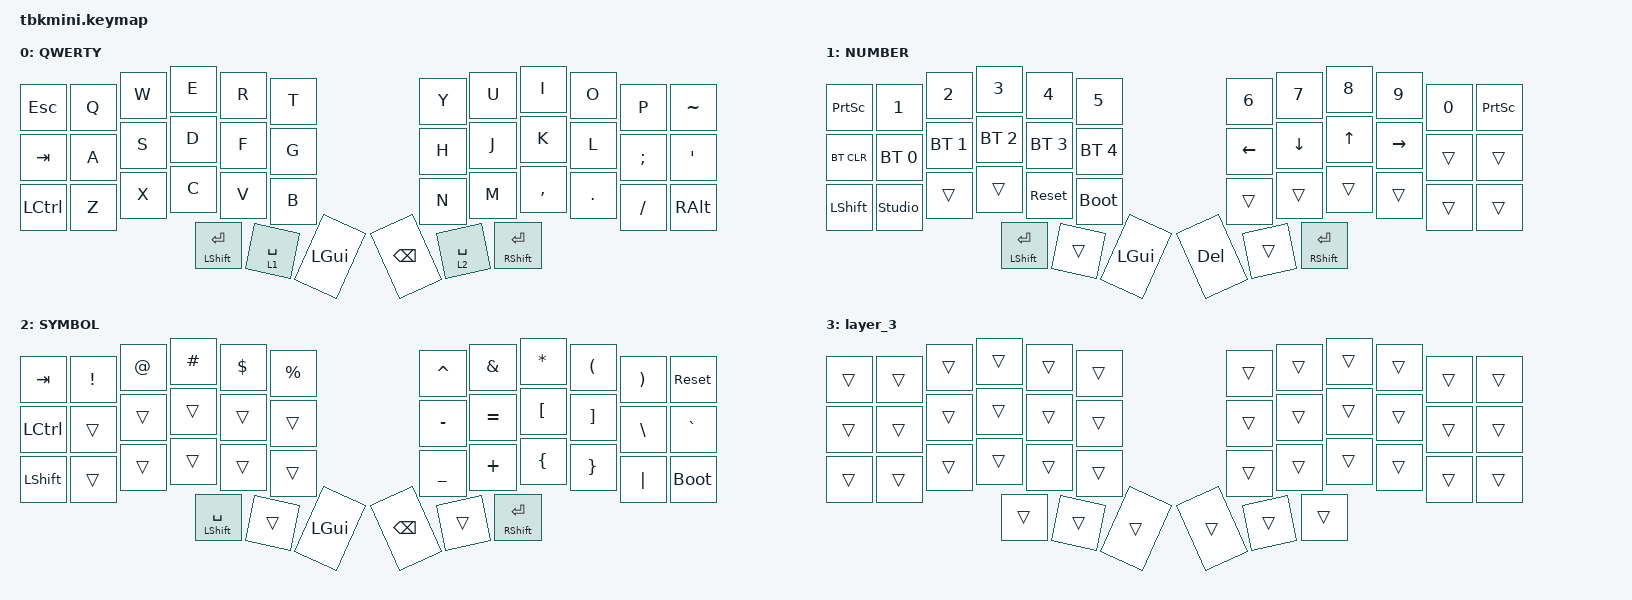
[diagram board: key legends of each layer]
#include <behaviors.dtsi>
#include <dt-bindings/zmk/bt.h>
#include <dt-bindings/zmk/keys.h>

/ {
    behaviors {
        shiftap: shift_tap {
            compatible = "zmk,behavior-hold-tap";
            #binding-cells = <2>;
            flavor = "hold-preferred";
            tapping-term-ms = <280>;
            hold-while-undecided;
            bindings = <&kp>, <&kp>;
        };
    };

    keymap {
        compatible = "zmk,keymap";

        default_layer {
            display-name = "QWERTY";

            // --------------------------------------------------------------------------------
            // |  ESCAPE |  Q  |  W  |  E  |  R  |  T  |   |  Y  |  U   |  I  |  O  |  P  | TILDE |
            // | TAB |  A  |  S  |  D  |  F  |  G  |   |  H  |  J   |  K  |  L  |  ;  |  '   |
            // | LCTRL |  Z  |  X  |  C  |  V  |  B  |   |  N  |  M   |  ,  |  .  |  /  | RIGHT_ALT  |
            //                    | LGUI | LWR | SPC |   | ENT | RSE  | DELETE |

            bindings = <
&kp ESCAPE  &kp Q  &kp W  &kp E     &kp R  &kp T        &kp Y                  &kp U  &kp I       &kp O    &kp P     &kp TILDE
&kp TAB     &kp A  &kp S  &kp D     &kp F  &kp G        &kp H                  &kp J  &kp K       &kp L    &kp SEMI  &kp SQT
&kp LCTRL   &kp Z  &kp X  &kp C     &kp V  &kp B        &kp N                  &kp M  &kp COMMA   &kp DOT  &kp FSLH  &kp RIGHT_ALT
                          &shiftap LEFT_SHIFT ENTER  &lt 1 SPACE &kp LGUI         &kp BACKSPACE &lt 2 SPACE  &shiftap RIGHT_SHIFT ENTER
//                          &kp LGUI  &lt 1 ENTER  &shiftap LEFT_SHIFT SPACE    &mt RIGHT_SHIFT SPACE  &lt 2 ENTER  &kp BACKSPACE
            >;
        };

        lower_layer {
            display-name = "NUMBER";

            // -----------------------------------------------------------------------------------------
            // |  TAB |  1  |  2  |  3  |  4  |  5  |   |  6  |  7  |  8  |  9  |  0  | PRINTSCREEN |
            // | BTCLR| BT1 | BT2 | BT3 | BT4 | BT5 |   | LFT | DWN |  UP | RGT |     |      |
            // | SHFT |     |     |     |RESET|  BTLDR |   |     |     |     |     |     |      |
            //                    | GUI |     | SPC |   | ENT |     | ALT |

            bindings = <
&kp PRINTSCREEN  &kp N1        &kp N2        &kp N3        &kp N4        &kp N5              &kp N6  &kp N7    &kp N8  &kp N9     &kp N0  &kp PRINTSCREEN
&bt BT_CLR       &bt BT_SEL 0  &bt BT_SEL 1  &bt BT_SEL 2  &bt BT_SEL 3  &bt BT_SEL 4        &kp LEFT  &kp DOWN  &kp UP  &kp RIGHT  &trans  &trans
&kp LSHFT        &studio_unlock       &trans        &trans        &sys_reset    &bootloader         &trans   &trans    &trans  &trans     &trans  &trans
                           &shiftap LEFT_SHIFT ENTER    &trans    &kp LGUI                        &kp DELETE  &trans    &shiftap RIGHT_SHIFT ENTER
            >;
        };

        raise_layer {
            display-name = "SYMBOL";

            // -----------------------------------------------------------------------------------------
            // |  TAB |  !  |  @  |  #  |  $  |  %  |   |  ^  |  &  |  *  |  (  |  )  | ~ |
            // | CTRL |     |     |     |     |     |   |  -  |  =  |  [  |  ]  |  \  |  `   |
            // | SHFT |     |     |     |     |     |   |  _  |  +  |  {  |  }  | "|" |  Bootloader  |
            //                    | GUI |     | SPC |   | ENT |     | ALT |

            bindings = <
&kp TAB    &kp EXCL  &kp AT  &kp HASH  &kp DLLR  &kp PRCNT           &kp CARET  &kp AMPS   &kp ASTRK      &kp LPAR  &kp RPAR  &sys_reset
&kp LCTRL  &trans    &trans  &trans    &trans    &trans             &kp MINUS  &kp EQUAL  &kp LBKT       &kp RBKT  &kp BSLH  &kp GRAVE
&kp LSHFT  &trans    &trans  &trans    &trans    &trans             &kp UNDER  &kp PLUS   &kp LBRC       &kp RBRC  &kp PIPE  &bootloader
                     &shiftap LEFT_SHIFT SPACE   &trans    &kp LGUI      &kp BACKSPACE    &trans     &shiftap RIGHT_SHIFT ENTER
            >;
        };

        layer_3 {
            bindings = <
&trans  &trans  &trans  &trans  &trans  &trans    &trans  &trans  &trans  &trans  &trans  &trans
&trans  &trans  &trans  &trans  &trans  &trans    &trans  &trans  &trans  &trans  &trans  &trans
&trans  &trans  &trans  &trans  &trans  &trans    &trans  &trans  &trans  &trans  &trans  &trans
                        &trans  &trans  &trans    &trans  &trans  &trans
            >;
        };
    };
};
